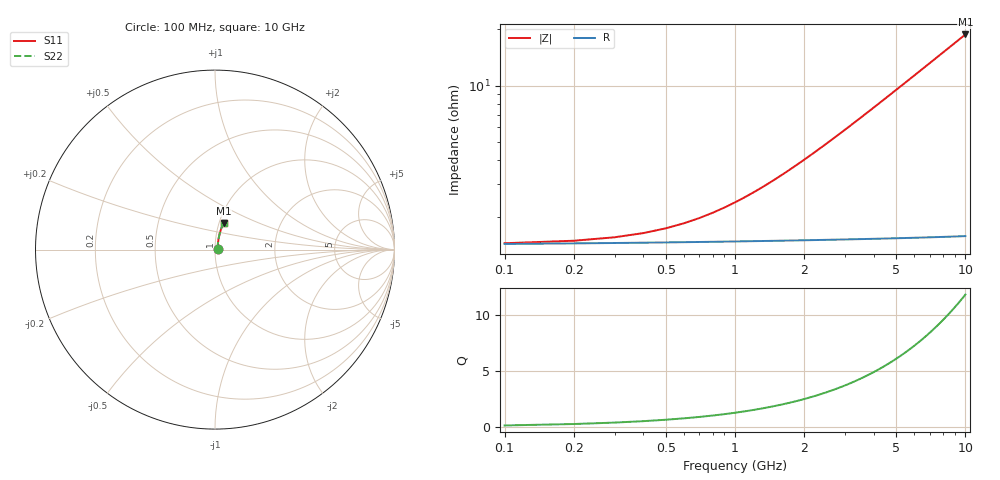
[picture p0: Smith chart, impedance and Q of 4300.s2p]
# Hz S RI R 50.00
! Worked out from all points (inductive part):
!   100 points, 100 MHz to 10 GHz, reference 50 ohm
!   read as one part in series: L = 298 pH near 2.5 GHz
!   highest Q = 11.9 at 10 GHz (marker M1), where L = 297 pH
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1e8  0.0141 0.00155  0.9859 -0.00209  0.9859 -0.00209  0.0141 0.00155
2e8  0.0142 0.0031  0.9858 -0.00418  0.9858 -0.00418  0.0142 0.0031
3e8  0.0143 0.00465  0.9857 -0.00627  0.9857 -0.00627  0.0143 0.00465
5e8  0.0145 0.00774  0.9855 -0.0105  0.9855 -0.0105  0.0145 0.00774
7e8  0.0146 0.0108  0.9854 -0.0146  0.9854 -0.0146  0.0146 0.0108
1.3e9  0.0152 0.0201  0.9848 -0.0272  0.9848 -0.0272  0.0152 0.0201
1.6e9  0.0155 0.0247  0.9844 -0.0334  0.9844 -0.0334  0.0155 0.0247
1.8e9  0.0158 0.0278  0.9842 -0.0376  0.9842 -0.0376  0.0158 0.0278
2.1e9  0.0162 0.0324  0.9837 -0.0438  0.9837 -0.0438  0.0162 0.0324
2.5e9  0.0169 0.0386  0.983 -0.0521  0.983 -0.0521  0.0169 0.0386
2.9e9  0.0176 0.0447  0.9822 -0.0604  0.9822 -0.0604  0.0176 0.0447
3.4e9  0.0187 0.0523  0.9811 -0.0708  0.9811 -0.0708  0.0187 0.0523
3.8e9  0.0197 0.0584  0.98 -0.0791  0.98 -0.0791  0.0197 0.0584
4.2e9  0.0208 0.0645  0.9789 -0.0873  0.9789 -0.0873  0.0208 0.0645
4.6e9  0.022 0.0705  0.9777 -0.0955  0.9777 -0.0955  0.022 0.0705
5.1e9  0.0236 0.0781  0.976 -0.1058  0.976 -0.1058  0.0236 0.0781
5.9e9  0.0265 0.09  0.9729 -0.122  0.9729 -0.122  0.0265 0.09
6.7e9  0.0298 0.1018  0.9695 -0.1382  0.9695 -0.1382  0.0298 0.1018
7.5e9  0.0335 0.1135  0.9656 -0.1542  0.9656 -0.1542  0.0335 0.1135
8.4e9  0.0381 0.1264  0.9608 -0.1721  0.9608 -0.1721  0.0381 0.1264
9.2e9  0.0426 0.1377  0.9561 -0.1877  0.9561 -0.1877  0.0426 0.1377
1e10  0.0474 0.1488  0.951 -0.2032  0.951 -0.2032  0.0474 0.1488
